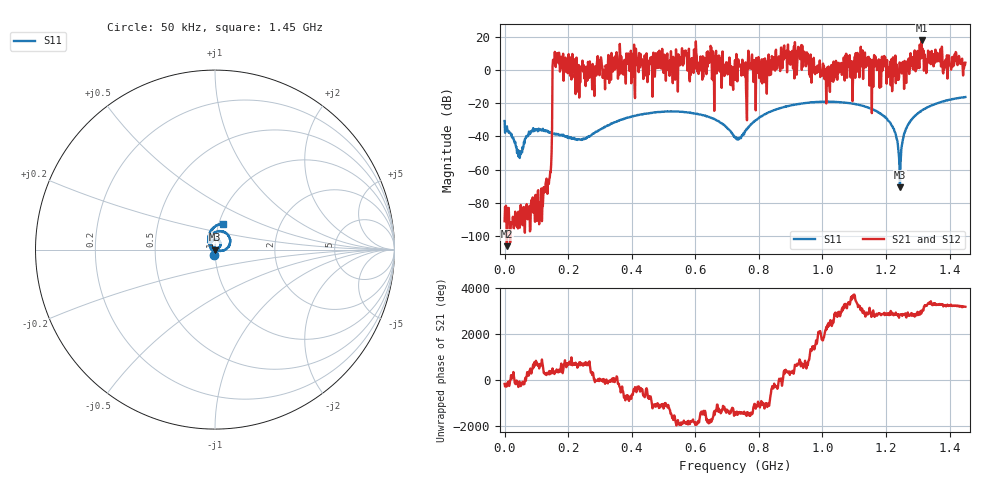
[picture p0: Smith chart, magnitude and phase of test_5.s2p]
! Created with skrf 1.11.0 (http://scikit-rf.org).
# Hz S RI R 50.0
!freq ReS11 ImS11 ReS21 ImS21 ReS12 ImS12 ReS22 ImS22
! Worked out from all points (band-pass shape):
!   1001 points, 50 kHz to 1.45 GHz, reference 50 ohm
!   highest |S21| = 17.70 dB at 1.312 GHz (marker M1); lowest = -106.0 dB at 7.3 MHz (marker M2)
!   |S21| within 3 dB of the highest: 362.4644 MHz to 362.7172 MHz (252.8 kHz wide, 0.0697 % of centre); 407.4382 MHz to 407.5146 MHz (76.41 kHz wide, 0.0188 % of centre) (the widest 2 of 8)
!   lowest |S11| = -70.6 dB at 1.244 GHz (marker M3), VSWR 1.00, Z = 50 - j0.0198 ohm
!   |S11| at or under -10 dB: start of sweep to end of sweep
!   |S22| runs from - to - dB; largest |S21 - S12| = 0
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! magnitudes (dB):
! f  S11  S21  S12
! 50 kHz  -30.8  -91.0  -91.0
! 7.3 MHz  -33.9  -106.0  -106.0
! 46.45 MHz  -52.5  -93.9  -93.9
! 114.6 MHz  -36.1  -89.2  -89.2
! 134.9 MHz  -37.1  -74.5  -74.5
! 142.1 MHz  -37.9  -64.8  -64.8
! 158.1 MHz  -38.3  10.8  10.8
! 242.2 MHz  -42.1  1.2  1.2
! 484.3 MHz  -25.3  4.9  4.9
! 614.8 MHz  -26.9  2.5  2.5
! 643.8 MHz  -28.3  4.2  4.2
! 725 MHz  -40.7  5.9  5.9
! 756.9 MHz  -37.0  -4.0  -4.0
! 772.9 MHz  -33.3  1.3  1.3
! 830.9 MHz  -25.5  9.2  9.2
! 884.5 MHz  -22.2  8.7  8.7
! 967.2 MHz  -19.5  3.7  3.7
! 1.209 GHz  -30.9  1.3  1.3
! 1.244 GHz  -70.6  4.1  4.1
! 1.266 GHz  -34.5  5.0  5.0
! 1.312 GHz  -24.5  17.7  17.7
! 1.45 GHz  -16.3  4.3  4.3
